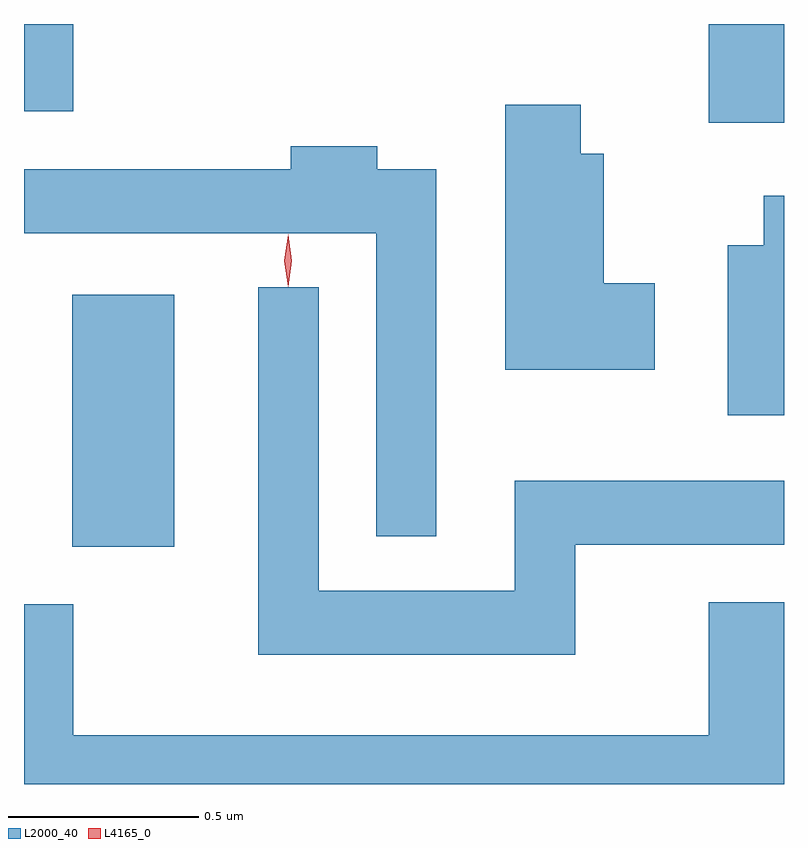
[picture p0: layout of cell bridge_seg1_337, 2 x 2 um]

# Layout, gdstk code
import gdstk
lib = gdstk.Library(unit=1e-6, precision=1e-09)
def R(c, l, rs):  # rectangles x0, y0, x1, y1
    for r in rs: c.add(gdstk.rectangle(r[:2], r[2:], *l))
def P(c, l, *ps):  # polygons
    for p in ps: c.add(gdstk.Polygon(p, *l))
L2000_40 = (2000, 40)
L4165_0 = (4165, 0)

bridge_seg1_337 = lib.new_cell('bridge_seg1_337')
R(bridge_seg1_337, L2000_40, [(910.496,884.801,910.764,885.464), (912.171,885.916,912.369,886.176), (910.369,885.946,910.499,886.176)])
P(bridge_seg1_337, L2000_40, [(912.029,885.494),(911.894,885.494),(911.894,885.834),(911.834,885.834),(911.834,885.964),(911.636,885.964),(911.636,885.266),(912.029,885.266)],
  [(911.454,885.794),(911.299,885.794),(911.299,885.854),(911.071,885.854),(911.071,885.794),(910.369,885.794),(910.369,885.626),(911.296,885.626),(911.296,884.828),(911.454,884.828)],
  [(912.369,885.724),(912.316,885.724),(912.316,885.594),(912.221,885.594),(912.221,885.146),(912.369,885.146)],
  [(911.819,884.806),(912.369,884.806),(912.369,884.974),(911.661,884.974),(911.661,884.684),(911.144,884.684),(911.144,885.483),(910.986,885.483),(910.986,884.516),(911.819,884.516)],
  [(912.369,884.654),(912.171,884.654),(912.171,884.304),(910.499,884.304),(910.499,884.649),(910.369,884.649),(910.369,884.176),(912.369,884.176)])
P(bridge_seg1_337, L4165_0, [(911.064,885.484),(911.064,885.484),(911.054,885.553),(911.064,885.622),(911.064,885.623),(911.065,885.622),(911.074,885.553),(911.065,885.484)])

lib.write_gds('bridge_seg1_337.gds')
